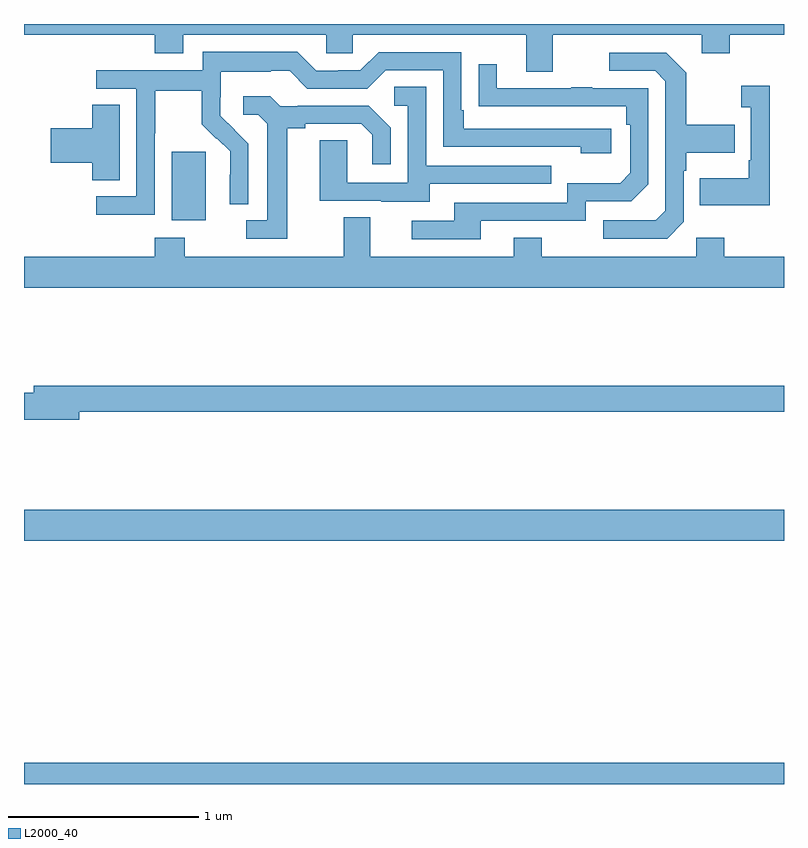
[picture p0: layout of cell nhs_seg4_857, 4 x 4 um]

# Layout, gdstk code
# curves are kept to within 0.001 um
import gdstk
lib = gdstk.Library(unit=1e-6, precision=1e-09)
def R(c, l, rs):  # rectangles x0, y0, x1, y1
    for r in rs: c.add(gdstk.rectangle(r[:2], r[2:], *l))
def P(c, l, *ps):  # polygons
    for p in ps: c.add(gdstk.Polygon(p, *l))
L2000_40 = (2000, 40)

nhs_seg4_857 = lib.new_cell('nhs_seg4_857')
R(nhs_seg4_857, L2000_40, [(155,768.9,159,769.012), (155,770.18,159,770.344), (155.777,771.866,155.956,772.227)])
P(nhs_seg4_857, L2000_40, [(157.783,772.844),(158.567,772.844),(158.567,772.745),(158.715,772.745),(158.715,772.844),(159,772.844),(159,772.9),(155,772.9),(155,772.844),(155.687,772.844),(155.687,772.745),(155.839,772.745),(155.839,772.844),(156.591,772.844),(156.591,772.746),(156.729,772.746),(156.729,772.844),(157.643,772.844),(157.643,772.65),(157.783,772.65)],
  [(155.688,772.324),(155.691,772.324),(155.691,772.548),(155.935,772.548),(155.935,772.373),(156.012,772.296),(156.015,772.299),(156.086,772.229),(156.086,772.106),(156.084,772.106),(156.084,771.952),(156.18,771.952),(156.18,772.27),(156.034,772.418),(156.034,772.515),(156.036,772.515),(156.036,772.649),(156.299,772.649),(156.299,772.653),(156.399,772.653),(156.492,772.56),(156.807,772.56),(156.903,772.656),(157.206,772.656),(157.206,772.254),(157.931,772.254),(157.931,772.22),(158.092,772.22),(158.092,772.35),(157.315,772.35),(157.315,772.447),(157.302,772.447),(157.302,772.752),(156.867,772.752),(156.771,772.656),(156.653,772.656),(156.653,772.653),(156.537,772.653),(156.437,772.753),(155.94,772.753),(155.94,772.656),(155.379,772.656),(155.379,772.56),(155.592,772.56),(155.592,771.993),(155.379,771.993),(155.379,771.895),(155.688,771.895)],
  [(158.472,771.858),(158.472,772.127),(158.485,772.127),(158.485,772.223),(158.741,772.223),(158.741,772.371),(158.485,772.371),(158.485,772.643),(158.379,772.749),(158.079,772.749),(158.079,772.653),(158.322,772.653),(158.376,772.599),(158.376,771.918),(158.325,771.867),(158.049,771.867),(158.049,771.771),(158.385,771.771)],
  [(157.405,771.864),(157.956,771.864),(157.956,771.966),(158.196,771.966),(158.286,772.056),(158.286,772.563),(157.991,772.563),(157.991,772.568),(157.879,772.568),(157.879,772.563),(157.489,772.563),(157.489,772.687),(157.393,772.687),(157.393,772.468),(158.17,772.467),(158.17,772.37),(158.19,772.37),(158.19,772.116),(158.137,772.063),(157.86,772.063),(157.86,771.96),(157.265,771.96),(157.265,771.864),(157.041,771.864),(157.041,771.768),(157.405,771.768)],
  [(158.924,772.576),(158.775,772.576),(158.775,772.463),(158.826,772.463),(158.826,772.183),(158.814,772.183),(158.814,772.087),(158.557,772.087),(158.557,771.947),(158.924,771.947)],
  [(157.135,772.059),(157.775,772.059),(157.775,772.155),(157.116,772.155),(157.116,772.571),(156.948,772.571),(156.948,772.47),(157.02,772.47),(157.02,772.065),(156.702,772.065),(156.702,772.289),(156.557,772.289),(156.557,771.969),(156.881,771.969),(156.881,771.965),(157.135,771.965)],
  [(156.385,772.352),(156.481,772.352),(156.481,772.374),(156.776,772.374),(156.833,772.317),(156.833,772.161),(156.93,772.161),(156.93,772.354),(156.814,772.47),(156.442,772.47),(156.442,772.467),(156.348,772.467),(156.296,772.519),(156.153,772.519),(156.153,772.422),(156.234,772.422),(156.281,772.375),(156.281,771.867),(156.171,771.867),(156.171,771.771),(156.385,771.771)],
  [(155.503,772.475),(155.36,772.475),(155.36,772.352),(155.142,772.352),(155.142,772.169),(155.36,772.169),(155.36,772.078),(155.503,772.078)],
  [(159,771.676),(158.685,771.676),(158.685,771.775),(158.538,771.775),(158.538,771.676),(157.725,771.676),(157.725,771.775),(157.577,771.775),(157.577,771.676),(156.823,771.676),(156.823,771.884),(156.683,771.884),(156.683,771.676),(155.847,771.676),(155.847,771.775),(155.687,771.775),(155.687,771.676),(155,771.676),(155,771.512),(159,771.512)],
  [(155.29,770.86),(159,770.86),(159,770.996),(155.051,770.996),(155.051,770.96),(155,770.96),(155,770.818),(155.29,770.818)])

lib.write_gds('nhs_seg4_857.gds')
